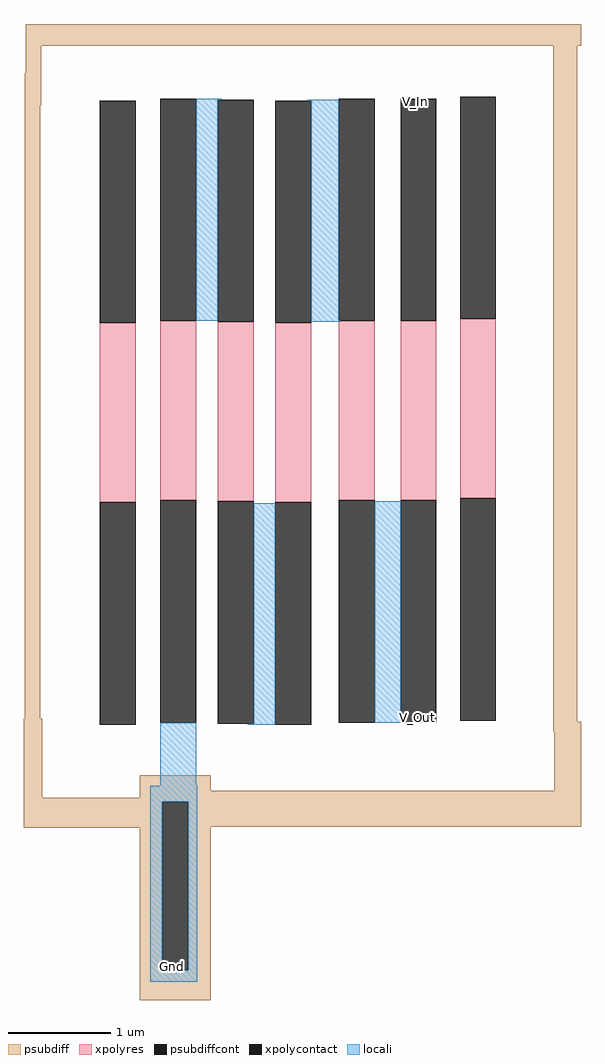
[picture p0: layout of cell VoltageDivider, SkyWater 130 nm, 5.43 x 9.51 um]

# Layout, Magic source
magic
tech sky130A
<< psubdiff >>
rect -254 835 287 856
rect -254 808 -239 835
rect -255 777 -239 808
rect -255 179 -240 777
rect -256 102 -238 179
rect 260 176 283 835
rect 260 167 287 176
rect -143 109 -74 124
rect 261 109 287 167
rect -143 102 287 109
rect -256 98 287 102
rect -256 73 -121 98
rect -143 -66 -121 73
rect -96 74 287 98
rect -96 -66 -74 74
rect -143 -95 -74 -66
<< psubdiffcont >>
rect -121 -66 -96 98
<< xpolycontact >>
rect -182 565 -147 781
rect -182 173 -147 390
rect -123 567 -88 783
rect -123 175 -88 392
rect -67 566 -32 782
rect -67 174 -32 391
rect -11 565 24 781
rect -11 173 24 390
rect 51 567 86 783
rect 51 175 86 392
rect 111 567 146 783
rect 111 175 146 392
rect 169 569 204 785
rect 169 177 204 394
<< xpolyres >>
rect -182 390 -147 565
rect -123 392 -88 567
rect -67 391 -32 566
rect -11 390 24 565
rect 51 392 86 567
rect 111 392 146 567
rect 169 394 204 569
<< locali >>
rect -88 782 -63 783
rect -88 567 -67 782
rect 20 781 51 782
rect 24 567 51 781
rect 24 566 53 567
rect -123 114 -88 175
rect -32 174 -11 389
rect -38 173 -11 174
rect 86 175 111 391
rect -133 98 -87 114
rect -133 -66 -121 98
rect -96 -66 -87 98
rect -133 -77 -87 -66
<< labels >>
rlabel xpolycontact 128 180 128 180 1 V_Out
port 2 n
rlabel xpolycontact 126 780 126 780 5 V_In
port 3 s
rlabel psubdiffcont -111 -62 -111 -62 1 Gnd
port 1 n
<< end >>
